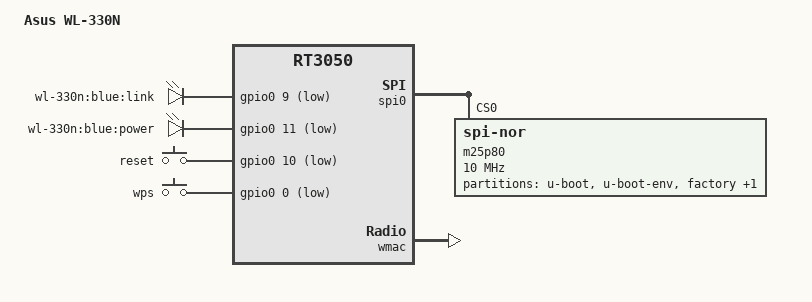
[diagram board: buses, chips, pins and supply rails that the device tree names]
/dts-v1/;

#include "rt3050.dtsi"

#include <dt-bindings/gpio/gpio.h>
#include <dt-bindings/input/input.h>

/ {
	compatible = "asus,wl-330n", "ralink,rt3050-soc";
	model = "Asus WL-330N";

	aliases {
		led-boot = &led_power;
		led-failsafe = &led_power;
		led-running = &led_power;
		led-upgrade = &led_power;
	};

	leds {
		compatible = "gpio-leds";

		link {
			label = "wl-330n:blue:link";
			gpios = <&gpio0 9 GPIO_ACTIVE_LOW>;
		};

		led_power: power {
			label = "wl-330n:blue:power";
			gpios = <&gpio0 11 GPIO_ACTIVE_LOW>;
		};
	};

	keys {
		compatible = "gpio-keys-polled";
		poll-interval = <20>;

		reset {
			label = "reset";
			gpios = <&gpio0 10 GPIO_ACTIVE_LOW>;
			linux,code = <KEY_RESTART>;
		};

		wps {
			label = "wps";
			gpios = <&gpio0 0 GPIO_ACTIVE_LOW>;
			linux,code = <KEY_WPS_BUTTON>;
		};
	};
};

&spi0 {
	status = "okay";

	m25p80@0 {
		compatible = "jedec,spi-nor";
		reg = <0>;
		spi-max-frequency = <10000000>;

		partitions {
			compatible = "fixed-partitions";
			#address-cells = <1>;
			#size-cells = <1>;

			partition@0 {
				label = "u-boot";
				reg = <0x0 0x30000>;
				read-only;
			};

			partition@30000 {
				label = "u-boot-env";
				reg = <0x30000 0x10000>;
				read-only;
			};

			factory: partition@40000 {
				label = "factory";
				reg = <0x40000 0x10000>;
				read-only;
			};

			partition@50000 {
				compatible = "denx,uimage";
				label = "firmware";
				reg = <0x50000 0x3b0000>;
			};
		};
	};
};

&state_default {
	gpio {
		ralink,group = "i2c", "jtag", "rgmii", "mdio", "uartf";
		ralink,function = "gpio";
	};
};

&ethernet {
	mtd-mac-address = <&factory 0x4>;
};

&esw {
	mediatek,portmap = <0x3e>;
};

&wmac {
	ralink,mtd-eeprom = <&factory 0>;
};
